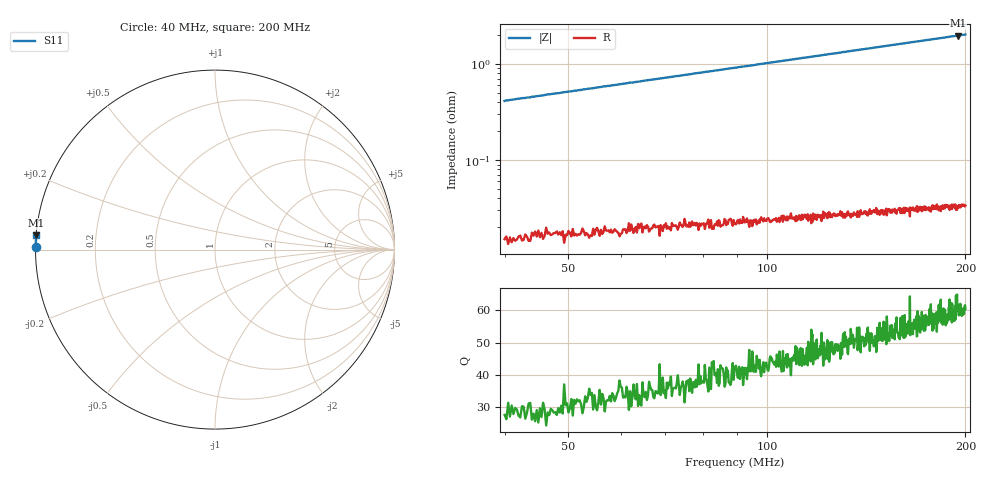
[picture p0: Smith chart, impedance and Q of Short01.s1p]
# Hz S RI R 50
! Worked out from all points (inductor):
!   641 points, 40 MHz to 200 MHz, reference 50 ohm
!   read as one part to ground: L = 1.64 nH near 40.75 MHz
!   highest Q = 61.7 at 195 MHz (marker M1), where L = 1.62 nH
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4e7  -0.9993 0.0165
4.3e7  -0.9992 0.0177
4.7e7  -0.9991 0.0195
6e7  -0.999 0.0247
6.45e7  -0.9988 0.0265
8e7  -0.9986 0.0328
1e8  -0.9982 0.0408
1.015e8  -0.9982 0.0415
1.045e8  -0.9982 0.0427
1.0625e8  -0.9981 0.0434
1.135e8  -0.9979 0.0463
1.1525e8  -0.9978 0.047
1.175e8  -0.9977 0.048
1.2e8  -0.9978 0.0489
1.23e8  -0.9976 0.0501
1.275e8  -0.9976 0.052
1.3025e8  -0.9975 0.053
1.4e8  -0.9972 0.057
1.6e8  -0.9966 0.065
1.715e8  -0.9963 0.0697
1.8e8  -0.996 0.0731
1.8375e8  -0.9959 0.0746
1.8675e8  -0.9958 0.0758
1.8975e8  -0.9957 0.077
1.92e8  -0.9956 0.0779
1.95e8  -0.9956 0.0791
1.975e8  -0.9954 0.0801
2e8  -0.9954 0.0811
